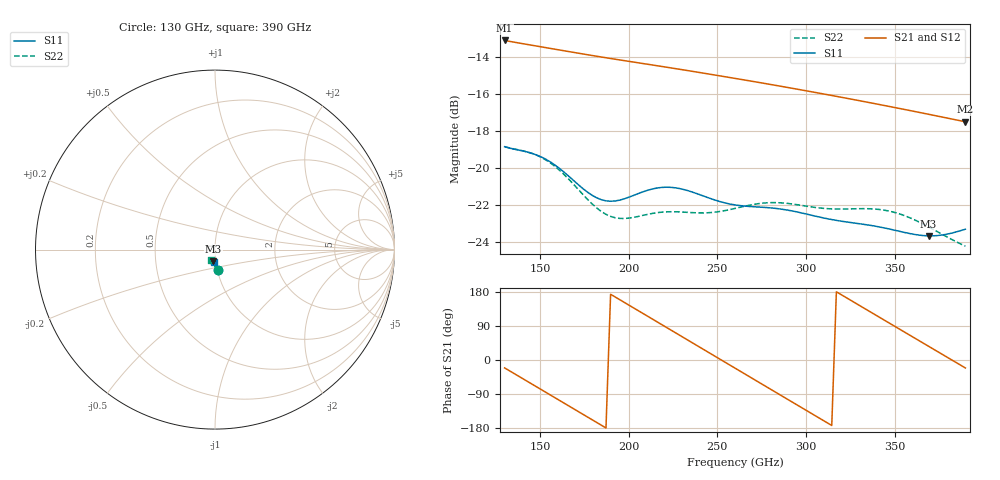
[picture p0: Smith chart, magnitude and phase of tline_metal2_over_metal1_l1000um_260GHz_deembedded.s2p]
! Created with skrf 2.0.1 (http://scikit-rf.org).
# GHz S DB R 50.0
!freq dBS11 angS11 dBS21 angS21 dBS12 angS12 dBS22 angS22
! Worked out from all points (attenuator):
!   101 points, 130 GHz to 390 GHz, reference 50 ohm
!   highest |S21| = -13.09 dB at 130 GHz (marker M1); lowest = -17.5 dB at 390 GHz (marker M2)
!   lowest |S11| = -23.7 dB at 369.2 GHz (marker M3), VSWR 1.14, Z = 48.7 - j6.32 ohm
!   |S11| at or under -10 dB: start of sweep to end of sweep
!   |S22| runs from -24.3 to -18.8 dB; largest |S21 - S12| = 1.5e-13
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130  -18.85 -81.9  -13.09 -20.9  -13.09 -20.9  -18.85 -80.9
143  -19.15 -83.2  -13.31 -56.8  -13.31 -56.8  -19.14 -82.8
153.4  -19.54 -86.2  -13.48 -85.7  -13.48 -85.7  -19.58 -86.4
163.8  -20.25 -88.7  -13.65 -114.5  -13.65 -114.5  -20.38 -89.8
174.2  -21.13 -88.7  -13.82 -143.3  -13.82 -143.3  -21.45 -90.7
184.6  -21.73 -85.7  -13.98 -172.1  -13.98 -172.1  -22.37 -87.9
195  -21.75 -82.3  -14.14 159.1  -14.14 159.1  -22.75 -83.5
208  -21.30 -81.7  -14.34 123.0  -14.34 123.0  -22.58 -80.3
218.4  -21.06 -84.3  -14.49 94.1  -14.49 94.1  -22.41 -80.4
228.8  -21.13 -87.8  -14.65 65.2  -14.65 65.2  -22.39 -81.2
241.8  -21.51 -90.9  -14.85 29.1  -14.85 29.1  -22.45 -81.6
260  -22.01 -92.2  -15.14 -21.4  -15.14 -21.4  -22.20 -82.2
273  -22.12 -93.0  -15.36 -57.5  -15.36 -57.5  -21.95 -84.6
283.4  -22.21 -94.4  -15.53 -86.3  -15.53 -86.3  -21.89 -87.5
293.8  -22.37 -96.0  -15.71 -115.2  -15.71 -115.2  -21.98 -90.2
304.2  -22.59 -97.1  -15.89 -144.0  -15.89 -144.0  -22.13 -92.2
314.6  -22.81 -97.8  -16.07 -172.8  -16.07 -172.8  -22.23 -93.7
325  -22.96 -98.3  -16.26 158.4  -16.26 158.4  -22.23 -95.5
338  -23.15 -99.1  -16.50 122.4  -16.50 122.4  -22.23 -98.9
348.4  -23.35 -99.6  -16.69 93.7  -16.69 93.7  -22.38 -102.3
369.2  -23.69 -98.3  -17.09 36.3  -17.09 36.3  -23.20 -108.0
390  -23.33 -96.7  -17.50 -21.0  -17.50 -21.0  -24.25 -109.2
